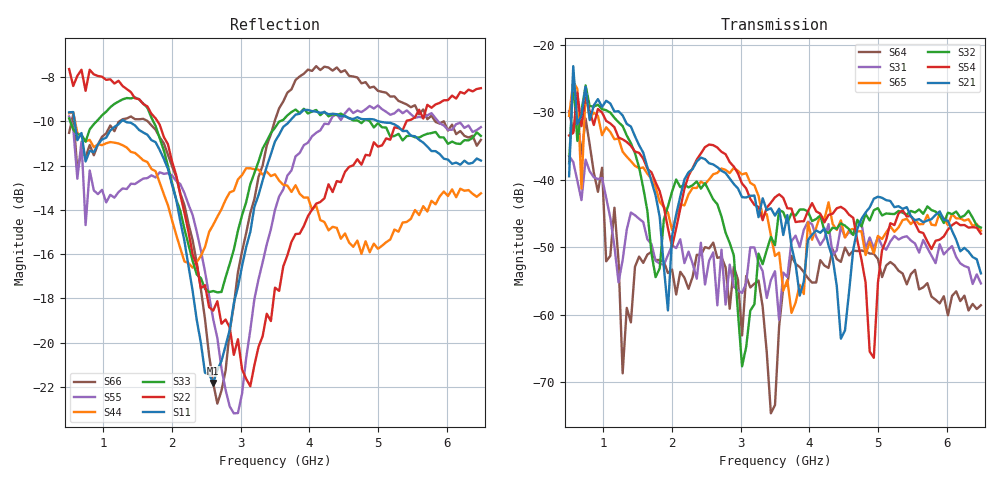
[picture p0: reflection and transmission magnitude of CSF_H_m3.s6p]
!Keysight Technologies,M9804A,MY58100912,A.14.10.03
!Date: Thursday, April 27, 2023 10:28:33
!Correction: S11(C  6-Port  )
!S12(C  6-Port  )
!S13(C  6-Port  )
!S14(C  6-Port  )
!S15(C  6-Port  )
!S16(C  6-Port  )
!S21(C  6-Port  )
!S22(C  6-Port  )
!S23(C  6-Port  )
!S24(C  6-Port  )
!S25(C  6-Port  )
!S26(C  6-Port  )
!S31(C  6-Port  )
!S32(C  6-Port  )
!S33(C  6-Port  )
!S34(C  6-Port  )
!S35(C  6-Port  )
!S36(C  6-Port  )
!S41(C  6-Port  )
!S42(C  6-Port  )
!S43(C  6-Port  )
!S44(C  6-Port  )
!S45(C  6-Port  )
!S46(C  6-Port  )
!S51(C  6-Port  )
!S52(C  6-Port  )
!S53(C  6-Port  )
!S54(C  6-Port  )
!S55(C  6-Port  )
!S56(C  6-Port  )
!S61(C  6-Port  )
!S62(C  6-Port  )
!S63(C  6-Port  )
!S64(C  6-Port  )
!S65(C  6-Port  )
!S66(C  6-Port  )
!S6P File: Measurement: :
# Hz S  RI  R 50
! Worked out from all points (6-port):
!   101 points, 500 MHz to 6.5 GHz, reference 50 ohm
!   strongest paths, dB at 500 MHz, 2 GHz, 3.5 GHz, 5 GHz, 6.5 GHz:
!     S21: -39.5, -48.4, -45.3, -42.5, -53.9
!     S54: -33.5, -50.0, -42.6, -55.2, -48.0
!     S32: -37.6, -41.8, -49.7, -44.2, -47.1
!     S65: -30.6, -47.5, -51.3, -48.4, -47.6
!     S31: -36.5, -49.8, -53.6, -48.5, -55.4
!     S64: -29.9, -53.3, -73.4, -51.8, -58.6
!   lowest |S11| = -21.8 dB at 2.6 GHz (marker M1), VSWR 1.18, Z = 42.7 + j1.98 ohm
!   |S11| at or under -10 dB: 579.7 MHz to 1.261 GHz (681.2 MHz wide, 74 % of centre); 1.315 GHz to 3.711 GHz (2.396 GHz wide, 95.3 % of centre); 5.01 GHz to end of sweep
